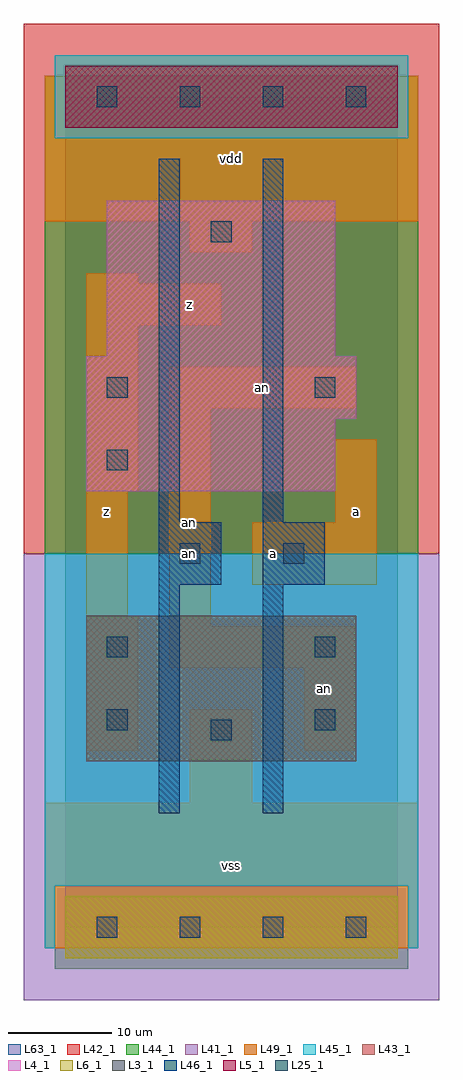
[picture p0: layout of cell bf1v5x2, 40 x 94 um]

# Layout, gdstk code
import gdstk
lib = gdstk.Library(unit=1e-6, precision=1e-09)
def R(c, l, rs):  # rectangles x0, y0, x1, y1
    for r in rs: c.add(gdstk.rectangle(r[:2], r[2:], *l))
def A(c, l, x, y, w, h, nx, ny, dx, dy):  # array of equal rectangles
    R(c, l, [(x+i*dx, y+j*dy, x+i*dx+w, y+j*dy+h) for i in range(nx) for j in range(ny)])
L3_1 = (3, 1)
L4_1 = (4, 1)
L5_1 = (5, 1)
L6_1 = (6, 1)
L25_1 = (25, 1)
L41_1 = (41, 1)
L42_1 = (42, 1)
L43_1 = (43, 1)
L44_1 = (44, 1)
L45_1 = (45, 1)
L46_1 = (46, 1)
L49_1 = (49, 1)
L63_1 = (63, 1)

bf1v5x2 = lib.new_cell('bf1v5x2')
R(bf1v5x2, L3_1, [(2,16,28,30)])
R(bf1v5x2, L4_1, [(2,42,26,49), (2,49,28,55), (4,55,26,70)])
R(bf1v5x2, L5_1, [(0,77,32,83)])
R(bf1v5x2, L6_1, [(0,-3,32,3), (0,-3,32,3)])
A(bf1v5x2, L25_1, 3, -1, 2, 2, 4, 2, 8, 80)
R(bf1v5x2, L25_1, [(14,18,16,20), (4,19,6,21), (24,19,26,21), (4,26,6,28), (24,26,26,28), (11,35,13,37), (21,35,23,37), (4,44,6,46), (4,51,6,53), (24,51,26,53), (14,66,16,68)])
R(bf1v5x2, L41_1, [(-4,-7,36,36)])
R(bf1v5x2, L42_1, [(-4,36,36,87)])
R(bf1v5x2, L43_1, [(0,-3,32,3), (2,16,28,30), (2,42,26,49), (2,49,28,55), (4,55,26,70), (0,77,32,83)])
R(bf1v5x2, L44_1, [(-1,-4,33,4), (-2,36,34,76), (-2,76,-1,82), (33,76,34,82)])
R(bf1v5x2, L45_1, [(-2,-2,-1,4), (33,-2,34,4), (-2,4,34,36), (-1,76,33,84)])
R(bf1v5x2, L46_1, [(9,11,11,33), (19,11,21,33), (9,33,15,39), (19,33,25,39), (9,39,11,74), (19,39,21,74)])
R(bf1v5x2, L49_1, [(-2,-2,34,12), (12,12,18,21), (2,17,7,30), (23,17,28,25), (10,25,28,29), (10,29,14,50), (2,30,6,42), (18,33,30,39), (26,39,30,47), (2,42,7,58), (10,50,28,54), (2,58,15,62), (2,62,7,63), (12,65,18,68), (-2,68,34,82)])
R(bf1v5x2, L63_1, [(0,0,32,80)])
bf1v5x2.add(gdstk.Label('an', (12,36), layer=49, texttype=1))
bf1v5x2.add(gdstk.Label('z', (4,40), layer=49, texttype=1))
bf1v5x2.add(gdstk.Label('an', (12,39), layer=49, texttype=1))
bf1v5x2.add(gdstk.Label('z', (12,60), layer=49, texttype=1))
bf1v5x2.add(gdstk.Label('vss', (16,6), layer=49, texttype=1))
bf1v5x2.add(gdstk.Label('a', (20,36), layer=49, texttype=1))
bf1v5x2.add(gdstk.Label('vdd', (16,74), layer=49, texttype=1))
bf1v5x2.add(gdstk.Label('an', (25,23), layer=49, texttype=1))
bf1v5x2.add(gdstk.Label('a', (28,40), layer=49, texttype=1))
bf1v5x2.add(gdstk.Label('an', (19,52), layer=49, texttype=1))

lib.write_gds('bf1v5x2.gds')
